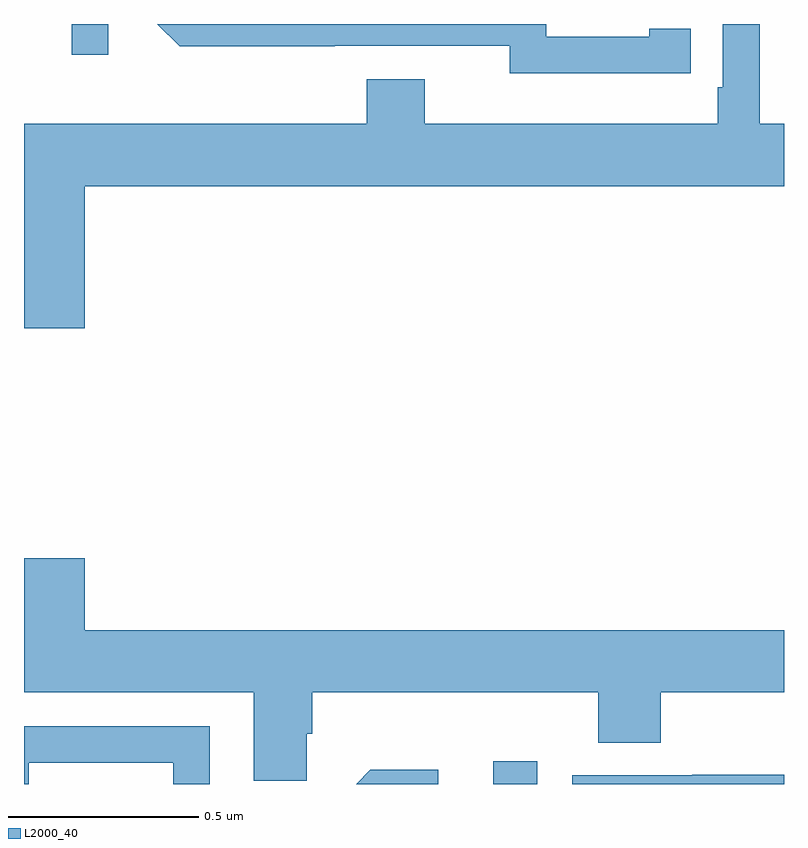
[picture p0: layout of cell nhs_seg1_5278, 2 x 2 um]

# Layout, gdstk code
import gdstk
lib = gdstk.Library(unit=1e-6, precision=1e-09)
def R(c, l, rs):  # rectangles x0, y0, x1, y1
    for r in rs: c.add(gdstk.rectangle(r[:2], r[2:], *l))
def P(c, l, *ps):  # polygons
    for p in ps: c.add(gdstk.Polygon(p, *l))
L2000_40 = (2000, 40)

nhs_seg1_5278 = lib.new_cell('nhs_seg1_5278')
R(nhs_seg1_5278, L2000_40, [(178.235,510.199,178.35,510.259), (177.125,512.118,177.222,512.199)])
P(nhs_seg1_5278, L2000_40, [(177.16,511.772),(179,511.772),(179,511.936),(178.936,511.936),(178.936,512.199),(178.839,512.199),(178.839,512.032),(178.826,512.032),(178.826,511.936),(178.054,511.936),(178.054,512.053),(177.902,512.053),(177.902,511.936),(177,511.936),(177,511.398),(177.16,511.398)],
  [(178.646,512.07),(178.754,512.07),(178.754,512.186),(178.646,512.186),(178.646,512.166),(178.374,512.166),(178.374,512.199),(177.351,512.199),(177.41,512.141),(177.818,512.141),(177.818,512.142),(178.278,512.142),(178.278,512.069),(178.646,512.069)],
  [(177.744,510.331),(177.758,510.331),(177.758,510.44),(178.511,510.44),(178.511,510.307),(178.676,510.307),(178.676,510.44),(179,510.44),(179,510.604),(177.16,510.604),(177.16,510.793),(177,510.793),(177,510.44),(177.605,510.44),(177.605,510.208),(177.744,510.208)],
  [(177.012,510.255),(177.393,510.255),(177.393,510.199),(177.489,510.199),(177.489,510.351),(177,510.351),(177,510.199),(177.012,510.199)],
  [(178.09,510.236),(177.911,510.236),(177.874,510.199),(178.09,510.199)],
  [(179,510.224),(178.759,510.224),(178.759,510.222),(178.443,510.222),(178.443,510.199),(179,510.199)])

lib.write_gds('nhs_seg1_5278.gds')
